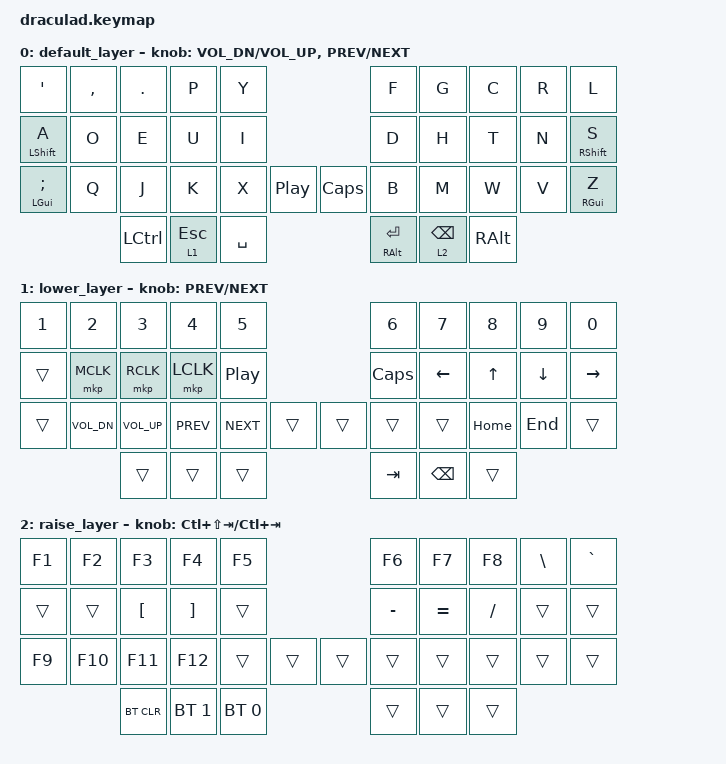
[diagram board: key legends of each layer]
#include <dt-bindings/zmk/keys.h>
#include <behaviors.dtsi>
#include <dt-bindings/zmk/bt.h>
#include <dt-bindings/zmk/mouse.h>


/ {

   behaviors {
        gqt: global-quick-tap {
            compatible = "zmk,behavior-hold-tap";
            label = "GLOBAL_QUICK_TAP";
            #binding-cells = <2>;
            flavor = "tap-preferred";
            tapping-term-ms = <200>;
            quick-tap-ms = <125>;
            global-quick-tap;
            bindings = <&kp>, <&kp>;
        };
    };

    keymap {
        compatible = "zmk,keymap";

        default_layer {


                        bindings = <
   &kp SQT          &kp COMMA   &kp DOT     &kp P       &kp Y                                 &kp F           &kp G        &kp C      &kp R   &kp L        
   &gqt LSHIFT A    &kp O       &kp E       &kp U       &kp I                                 &kp D           &kp H        &kp T      &kp N   &gqt RSHIFT S
   &gqt LGUI SEMI   &kp Q       &kp J       &kp K       &kp X       &kp C_PP       &kp CLCK   &kp B           &kp M        &kp W      &kp V   &gqt RGUI Z  
                                &kp LCTRL   &lt 1 ESC   &kp SPACE                             &gqt RALT RET   &lt 2 BSPC   &kp RALT
                        >;
            sensor-bindings = <&inc_dec_kp C_VOL_DN C_VOL_UP &inc_dec_kp C_PREV C_NEXT>;
        };

        lower_layer {
                        bindings = <
   &kp N1   &kp N2         &kp N3         &kp N4       &kp N5                             &kp N6     &kp N7     &kp N8     &kp N9     &kp N0   
   &trans   &mkp MCLK      &mkp RCLK      &mkp LCLK    &kp C_PP                           &kp CLCK   &kp LEFT   &kp UP     &kp DOWN   &kp RIGHT
   &trans   &kp C_VOL_DN   &kp C_VOL_UP   &kp C_PREV   &kp C_NEXT   &trans       &trans   &trans     &trans     &kp HOME   &kp END    &trans   
                           &trans         &trans       &trans                             &kp TAB    &kp BSPC   &trans
                        >;
            sensor-bindings = <&inc_dec_kp C_PREV C_NEXT>;
        };

                raise_layer {
                        bindings = <
   &kp F1   &kp F2    &kp F3       &kp F4         &kp F5                               &kp F6      &kp F7      &kp F8      &kp BSLH   &kp GRAVE
   &trans   &trans    &kp LBKT     &kp RBKT       &trans                               &kp MINUS   &kp EQUAL   &kp SLASH   &trans     &trans   
   &kp F9   &kp F10   &kp F11      &kp F12        &trans      &trans          &trans   &trans      &trans      &trans      &trans     &trans   
                      &bt BT_CLR   &bt BT_SEL 1   &bt BT_SEL 0                         &trans      &trans      &trans
                        >;
            sensor-bindings = <&inc_dec_kp LC(LS(TAB)) LC(TAB)>;
                };
    };
};
